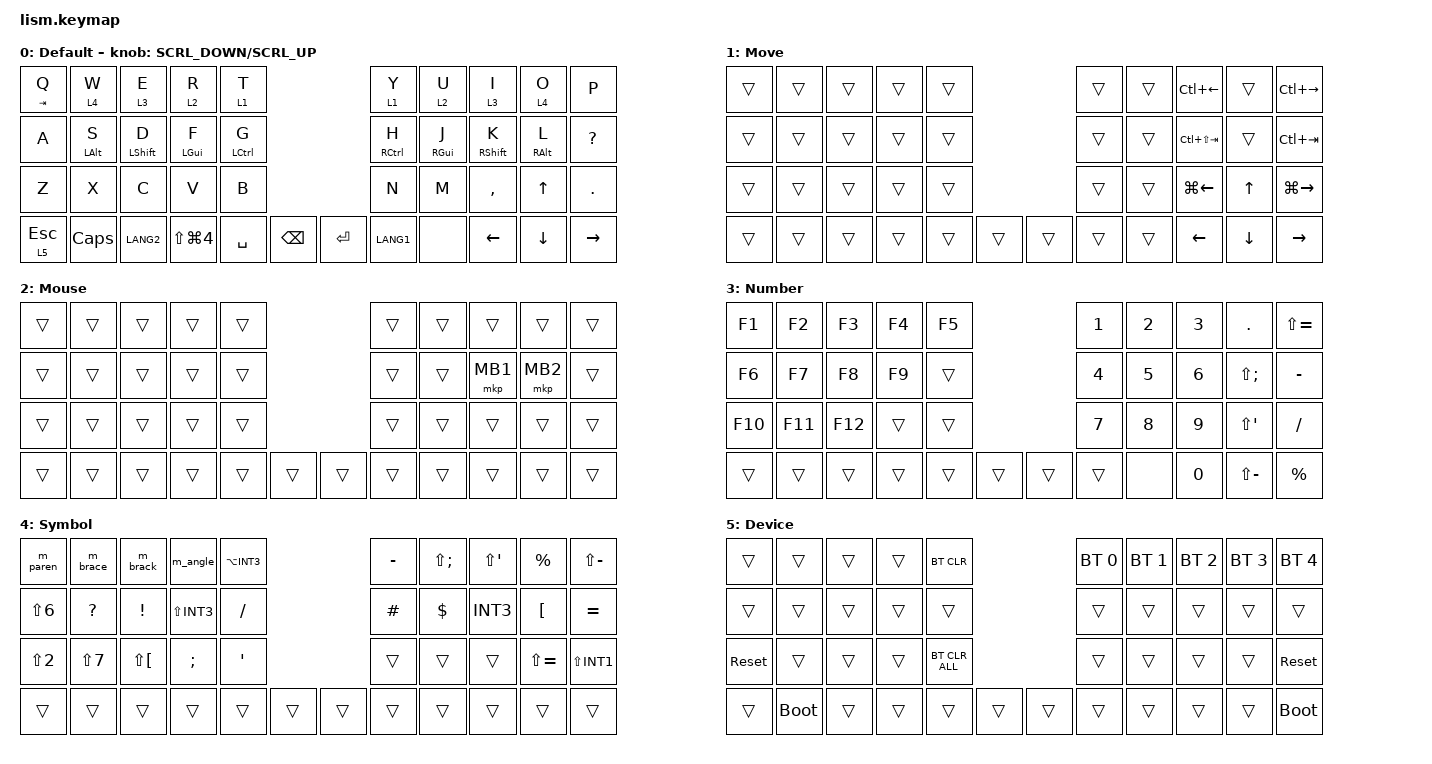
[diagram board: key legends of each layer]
#include <behaviors.dtsi>
#include <dt-bindings/zmk/keys.h>
#include <dt-bindings/zmk/bt.h>
#include <dt-bindings/zmk/mouse.h>
#include <dt-bindings/zmk/pointing.h>

// JIS-specific keycodes (Mac/Win 共に JIS 配列前提)
#define JP_LPAR  LS(N8)       // (
#define JP_RPAR  LS(N9)       // )
#define JP_LBRC  LS(RBKT)     // {
#define JP_RBRC  LS(BSLH)     // }
#define JP_LBRK  RBKT         // [
#define JP_RBRK  BSLH         // ]
#define JP_AT    LBKT         // @
#define JP_BSLH  LA(INT3)     // \  (Mac の Option+¥)
#define JP_YEN   INT3         // ¥
#define JP_PIPE  LS(INT3)     // |
#define JP_PLUS  LS(SEMI)     // +
#define JP_AST   LS(SQT)      // *
#define JP_TILDE LS(EQUAL)    // ~
#define JP_CARET EQUAL        // ^
#define JP_COLON SQT          // :
#define JP_AMPS  LS(N6)       // &
#define JP_QUOT  LS(N7)       // '
#define JP_DQT   LS(N2)       // "
#define JP_GRAVE LS(LBKT)     // `
#define JP_EQ    LS(MINUS)    // =
#define JP_UNDR  LS(INT1)     // _

&mt {
    flavor = "tap-preferred";
    tapping-term-ms = <200>;
    quick-tap-ms = <200>;
};

&lt {
    flavor = "tap-preferred";
    tapping-term-ms = <200>;
    quick-tap-ms = <200>;
};

/ {
    macros {
        // (), {}, [], <> を打って中央にカーソルを戻す
        m_paren: m_paren {
            compatible = "zmk,behavior-macro";
            #binding-cells = <0>;
            bindings = <&kp JP_LPAR &kp JP_RPAR &kp LEFT>;
        };
        m_brace: m_brace {
            compatible = "zmk,behavior-macro";
            #binding-cells = <0>;
            bindings = <&kp JP_LBRC &kp JP_RBRC &kp LEFT>;
        };
        m_brack: m_brack {
            compatible = "zmk,behavior-macro";
            #binding-cells = <0>;
            bindings = <&kp JP_LBRK &kp JP_RBRK &kp LEFT>;
        };
        m_angle: m_angle {
            compatible = "zmk,behavior-macro";
            #binding-cells = <0>;
            bindings = <&kp LESS_THAN &kp GREATER_THAN &kp LEFT>;
        };
    };

    behaviors {
        encoder_msc: sensor_rotate_msc {
            compatible = "zmk,behavior-sensor-rotate-var";
            #sensor-binding-cells = <2>;
            bindings = <&msc>, <&msc>;
            tap-ms = <20>;
        };
    };

    keymap {
        compatible = "zmk,keymap";

        default_layer {
            display-name = "Default";
            bindings = <
&mt TAB Q       &lt 4 W         &lt 3 E         &lt 2 R         &lt 1 T                                             &lt 1 Y         &lt 2 U         &lt 3 I         &lt 4 O         &kp P
&kp A           &mt LALT S      &mt LSHIFT D    &mt LGUI F      &mt LCTRL G                                         &mt RCTRL H     &mt RGUI J      &mt RSHIFT K    &mt RALT L      &kp QUESTION
&kp Z           &kp X           &kp C           &kp V           &kp B                                               &kp N           &kp M           &kp COMMA       &kp UP          &kp DOT
&lt 5 ESC       &kp CAPS        &kp LANG2       &kp LS(LG(N4))  &kp SPACE       &kp BSPC            &kp ENTER       &kp LANG1       &none           &kp LEFT        &kp DOWN        &kp RIGHT
            >;
            sensor-bindings = <&encoder_msc SCRL_DOWN SCRL_UP>;
        };

        move_layer {
            display-name = "Move";
            bindings = <
&trans          &trans          &trans          &trans          &trans                                              &trans          &trans          &kp LC(LEFT)    &trans          &kp LC(RIGHT)
&trans          &trans          &trans          &trans          &trans                                              &trans          &trans          &kp LC(LS(TAB)) &trans          &kp LC(TAB)
&trans          &trans          &trans          &trans          &trans                                              &trans          &trans          &kp LG(LEFT)    &kp UP          &kp LG(RIGHT)
&trans          &trans          &trans          &trans          &trans          &trans              &trans          &trans          &trans          &kp LEFT        &kp DOWN        &kp RIGHT
            >;
        };

        mouse_layer {
            display-name = "Mouse";
            bindings = <
&trans          &trans          &trans          &trans          &trans                                              &trans          &trans          &trans          &trans          &trans
&trans          &trans          &trans          &trans          &trans                                              &trans          &trans          &mkp MB1        &mkp MB2        &trans
&trans          &trans          &trans          &trans          &trans                                              &trans          &trans          &trans          &trans          &trans
&trans          &trans          &trans          &trans          &trans          &trans              &trans          &trans          &trans          &trans          &trans          &trans
            >;
        };

        number_layer {
            display-name = "Number";
            bindings = <
&kp F1          &kp F2          &kp F3          &kp F4          &kp F5                                              &kp N1          &kp N2          &kp N3          &kp DOT         &kp JP_TILDE
&kp F6          &kp F7          &kp F8          &kp F9          &trans                                              &kp N4          &kp N5          &kp N6          &kp JP_PLUS     &kp MINUS
&kp F10         &kp F11         &kp F12         &trans          &trans                                              &kp N7          &kp N8          &kp N9          &kp JP_AST      &kp FSLH
&trans          &trans          &trans          &trans          &trans          &trans              &trans          &trans          &none           &kp N0          &kp JP_EQ       &kp PRCNT
            >;
        };

        symbol_layer {
            display-name = "Symbol";
            bindings = <
&m_paren        &m_brace        &m_brack        &m_angle        &kp JP_BSLH                                         &kp MINUS       &kp JP_PLUS     &kp JP_AST      &kp PRCNT       &kp JP_EQ
&kp JP_AMPS     &kp QUESTION    &kp EXCL        &kp JP_PIPE     &kp FSLH                                            &kp HASH        &kp DLLR        &kp JP_YEN      &kp JP_AT       &kp JP_CARET
&kp JP_DQT      &kp JP_QUOT     &kp JP_GRAVE    &kp SEMI        &kp JP_COLON                                        &trans          &trans          &trans          &kp JP_TILDE    &kp JP_UNDR
&trans          &trans          &trans          &trans          &trans          &trans              &trans          &trans          &trans          &trans          &trans          &trans
            >;
        };

        device_layer {
            display-name = "Device";
            bindings = <
&trans          &trans          &trans          &trans          &bt BT_CLR                                          &bt BT_SEL 0    &bt BT_SEL 1    &bt BT_SEL 2    &bt BT_SEL 3    &bt BT_SEL 4
&trans          &trans          &trans          &trans          &trans                                              &trans          &trans          &trans          &trans          &trans
&sys_reset      &trans          &trans          &trans          &bt BT_CLR_ALL                                      &trans          &trans          &trans          &trans          &sys_reset
&trans          &bootloader     &trans          &trans          &trans          &trans              &trans          &trans          &trans          &trans          &trans          &bootloader
            >;
        };

        layer_6 {
            status = "reserved";
            display-name = "Reserved6";
            bindings = <
&trans          &trans          &trans          &trans          &trans                                              &trans          &trans          &trans          &trans          &trans
&trans          &trans          &trans          &trans          &trans                                              &trans          &trans          &trans          &trans          &trans
&trans          &trans          &trans          &trans          &trans                                              &trans          &trans          &trans          &trans          &trans
&trans          &trans          &trans          &trans          &trans          &trans              &trans          &trans          &trans          &trans          &trans          &trans
            >;
        };

        layer_7 {
            status = "reserved";
            display-name = "Reserved7";
            bindings = <
&trans          &trans          &trans          &trans          &trans                                              &trans          &trans          &trans          &trans          &trans
&trans          &trans          &trans          &trans          &trans                                              &trans          &trans          &trans          &trans          &trans
&trans          &trans          &trans          &trans          &trans                                              &trans          &trans          &trans          &trans          &trans
&trans          &trans          &trans          &trans          &trans          &trans              &trans          &trans          &trans          &trans          &trans          &trans
            >;
        };

    };
};
